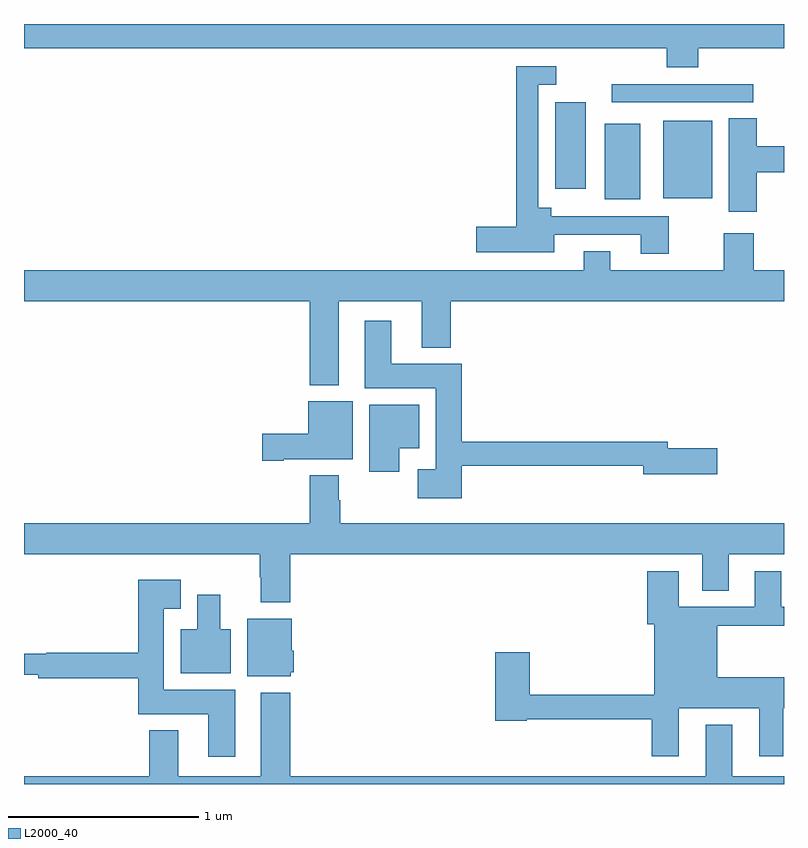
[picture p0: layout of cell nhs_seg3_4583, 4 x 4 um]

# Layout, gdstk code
import gdstk
lib = gdstk.Library(unit=1e-6, precision=1e-09)
def R(c, l, rs):  # rectangles x0, y0, x1, y1
    for r in rs: c.add(gdstk.rectangle(r[:2], r[2:], *l))
def P(c, l, *ps):  # polygons
    for p in ps: c.add(gdstk.Polygon(p, *l))
L2000_40 = (2000, 40)

nhs_seg3_4583 = lib.new_cell('nhs_seg3_4583')
R(nhs_seg3_4583, L2000_40, [(360.056,677.477,360.244,677.875), (360.365,677.483,360.622,677.89), (359.795,677.532,359.956,677.989), (360.093,677.988,360.838,678.084)])
P(nhs_seg3_4583, L2000_40, [(360.548,678.272),(361,678.272),(361,678.4),(357,678.4),(357,678.272),(360.383,678.272),(360.383,678.173),(360.548,678.173)],
  [(360.393,677.388),(359.776,677.388),(359.776,677.434),(359.706,677.434),(359.706,678.08),(359.8,678.08),(359.8,678.177),(359.59,678.177),(359.59,677.333),(359.379,677.333),(359.379,677.198),(359.791,677.198),(359.791,677.292),(360.245,677.292),(360.245,677.19),(360.393,677.19)],
  [(360.857,677.62),(361,677.62),(361,677.756),(360.857,677.756),(360.857,677.903),(360.71,677.903),(360.71,677.412),(360.857,677.412)],
  [(358.657,676.94),(359.093,676.94),(359.093,676.697),(359.246,676.697),(359.246,676.94),(361,676.94),(361,677.104),(360.842,677.104),(360.842,677.299),(360.682,677.299),(360.682,677.104),(360.085,677.104),(360.085,677.203),(359.945,677.203),(359.945,677.104),(357,677.104),(357,676.94),(358.505,676.94),(358.505,676.499),(358.657,676.499)],
  [(359.303,676.074),(360.26,676.074),(360.26,676.031),(360.649,676.031),(360.649,676.166),(360.388,676.166),(360.388,676.202),(359.303,676.202),(359.303,676.612),(358.933,676.612),(358.933,676.837),(358.793,676.837),(358.793,676.484),(359.168,676.484),(359.168,676.057),(359.073,676.057),(359.073,675.905),(359.303,675.905)],
  [(358.366,676.109),(358.729,676.109),(358.729,676.414),(358.496,676.414),(358.496,676.244),(358.254,676.244),(358.254,676.102),(358.366,676.102)],
  [(358.975,676.166),(359.08,676.166),(359.08,676.396),(358.817,676.396),(358.817,676.044),(358.975,676.044)],
  [(358.4,675.608),(360.569,675.608),(360.569,675.418),(360.709,675.418),(360.709,675.608),(361,675.608),(361,675.772),(358.665,675.772),(358.665,675.893),(358.657,675.893),(358.657,676.024),(358.505,676.024),(358.505,675.772),(357,675.772),(357,675.608),(358.24,675.608),(358.24,675.488),(358.247,675.488),(358.247,675.356),(358.4,675.356)],
  [(360.445,674.798),(360.869,674.798),(360.869,674.547),(360.997,674.547),(360.997,674.798),(361,674.798),(361,674.962),(360.649,674.962),(360.649,675.232),(361,675.232),(361,675.333),(360.985,675.333),(360.985,675.52),(360.845,675.52),(360.845,675.333),(360.445,675.333),(360.445,675.52),(360.281,675.52),(360.281,675.24),(360.317,675.24),(360.317,674.87),(359.663,674.87),(359.663,675.094),(359.48,675.094),(359.48,674.734),(359.646,674.734),(359.646,674.742),(360.305,674.742),(360.305,674.547),(360.445,674.547)],
  [(358.111,674.896),(357.736,674.896),(357.736,675.323),(357.826,675.323),(357.826,675.475),(357.602,675.475),(357.602,675.092),(357.118,675.092),(357.118,675.085),(357,675.085),(357,674.975),(357.076,674.975),(357.076,674.956),(357.602,674.956),(357.602,674.768),(357.971,674.768),(357.971,674.544),(358.111,674.544)],
  [(358.087,675.214),(358.033,675.214),(358.033,675.397),(357.911,675.397),(357.911,675.214),(357.824,675.214),(357.824,674.984),(358.087,674.984)],
  [(358.404,674.988),(358.42,674.988),(358.42,675.102),(358.408,675.102),(358.408,675.271),(358.175,675.271),(358.175,674.966),(358.404,674.966)],
  [(358.4,674.881),(358.247,674.881),(358.247,674.44),(357.811,674.44),(357.811,674.683),(357.659,674.683),(357.659,674.44),(357,674.44),(357,674.4),(361,674.4),(361,674.44),(360.727,674.44),(360.727,674.713),(360.587,674.713),(360.587,674.44),(358.4,674.44)])

lib.write_gds('nhs_seg3_4583.gds')
